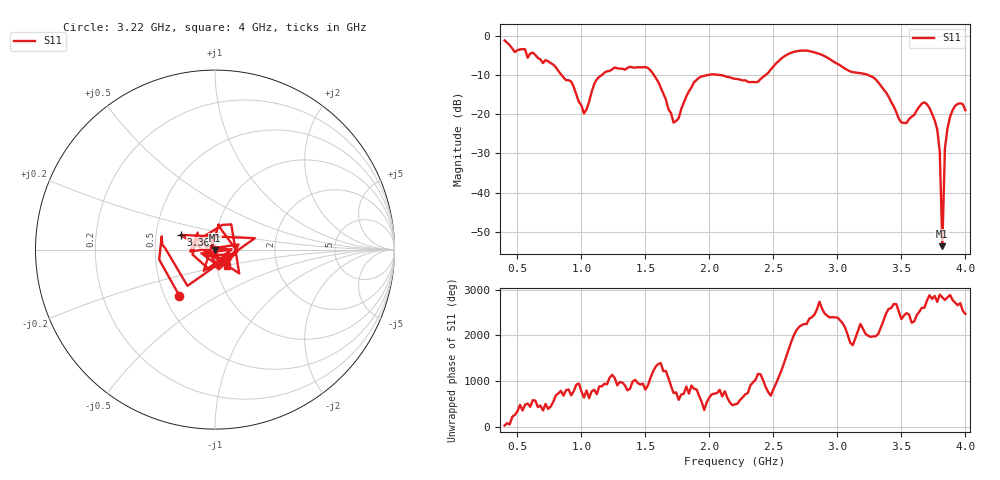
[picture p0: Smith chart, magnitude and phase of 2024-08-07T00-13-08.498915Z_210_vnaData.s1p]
!Created with skrf (http://scikit-rf.org).
# Hz S RI R 50.0
!freq ReS11 ImS11
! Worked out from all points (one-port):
!   181 points, 400 MHz to 4 GHz, reference 50 ohm
!   lowest |S11| = -53.6 dB at 3.82 GHz (marker M1), VSWR 1.00, Z = 50.1 - j0.165 ohm
!   |S11| at or under -10 dB: 1.566 GHz to 1.989 GHz (422.2 MHz wide, 23.8 % of centre); 2.083 GHz to 2.439 GHz (356.7 MHz wide, 15.8 % of centre); 3.239 GHz to end of sweep (the widest 3 of 4)
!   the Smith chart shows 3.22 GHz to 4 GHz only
!   S11 on the Smith chart (normalised r, x): 3.22 GHz: 0.59, -0.34; 3.36 GHz: 0.67, +0.12; 4 GHz: 1.12, -0.21
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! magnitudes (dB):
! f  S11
! 400 MHz  -1.2
! 860 MHz  -10.6
! 920 MHz  -11.6
! 1.02 GHz  -19.8
! 1.12 GHz  -11.1
! 1.3 GHz  -8.4
! 1.52 GHz  -8.2
! 1.6 GHz  -11.7
! 1.72 GHz  -22.1
! 1.76 GHz  -21.0
! 1.92 GHz  -10.7
! 2.2 GHz  -11.0
! 2.38 GHz  -11.7
! 2.66 GHz  -4.1
! 2.86 GHz  -4.6
! 3.1 GHz  -9.1
! 3.22 GHz  -9.8
! 3.36 GHz  -13.6
! 3.5 GHz  -22.1
! 3.56 GHz  -21.2
! 3.68 GHz  -17.0
! 3.78 GHz  -23.9
! 3.8 GHz  -29.6
! 3.82 GHz  -53.6
! 3.84 GHz  -28.7
! 3.86 GHz  -23.6
! 3.92 GHz  -17.8
! 4 GHz  -19.0
